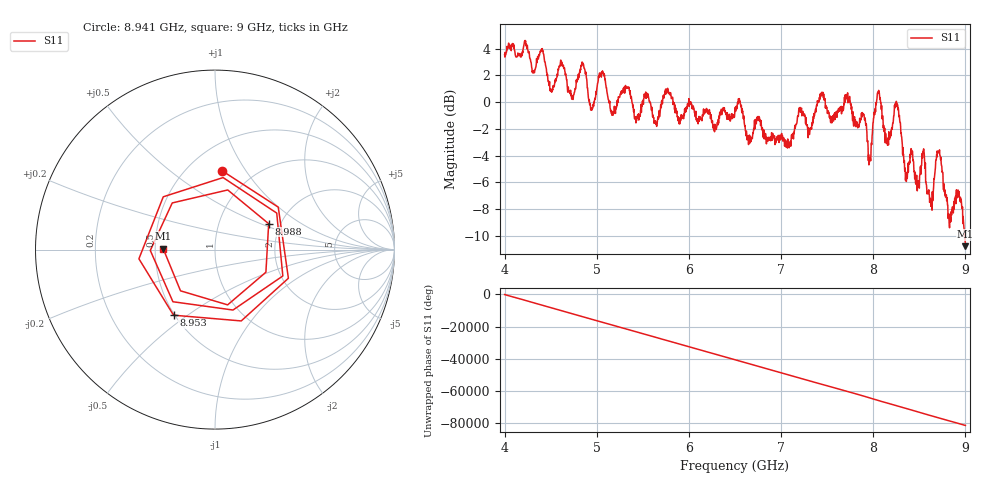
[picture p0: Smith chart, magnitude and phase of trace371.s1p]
! Created with skrf 1.8.0 (http://scikit-rf.org).
# Hz S RI R 50.0
!freq ReS11 ImS11
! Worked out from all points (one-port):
!   1601 points, 4 GHz to 9 GHz, reference 50 ohm
!   lowest |S11| = -10.8 dB at 9 GHz (marker M1), VSWR 1.81, Z = 27.6 + j0.357 ohm
!   |S11| at or under -10 dB: 8.990167 GHz to end of sweep
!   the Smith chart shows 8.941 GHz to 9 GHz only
!   S11 on the Smith chart (normalised r, x): 8.941 GHz: 0.73, +0.79; 8.953 GHz: 0.49, -0.44; 8.988 GHz: 1.74, +0.56; 9 GHz: 0.55, +0.01
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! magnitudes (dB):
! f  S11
! 4 GHz  3.5
! 4.403 GHz  3.9
! 4.516 GHz  0.8
! 4.625 GHz  2.7
! 4.731 GHz  0.5
! 4.853 GHz  2.8
! 4.941 GHz  -0.6
! 5.053 GHz  2.3
! 5.169 GHz  -0.9
! 5.25 GHz  0.4
! 5.875 GHz  -1.1
! 6.5 GHz  -0.6
! 7.125 GHz  -2.5
! 7.438 GHz  0.7
! 7.75 GHz  0.0
! 7.959 GHz  -4.4
! 8.053 GHz  0.7
! 8.153 GHz  -3.0
! 8.253 GHz  0.0
! 8.375 GHz  -5.3
! 8.541 GHz  -3.7
! 8.628 GHz  -7.5
! 8.709 GHz  -3.7
! 8.831 GHz  -8.4
! 8.941 GHz  -7.1
! 8.953 GHz  -7.3
! 8.988 GHz  -9.6
! 9 GHz  -10.8
